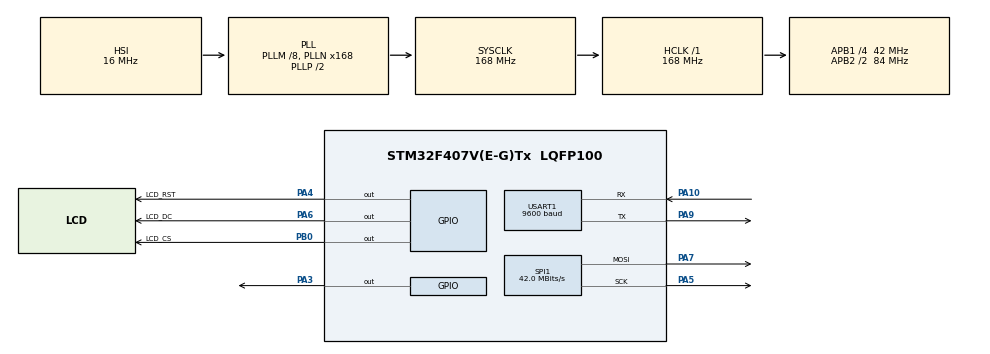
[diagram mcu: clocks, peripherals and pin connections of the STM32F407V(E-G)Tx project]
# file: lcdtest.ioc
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Dma.Request0=SPI1_TX
Dma.Request1=USART1_RX
Dma.SPI1_TX.0.Direction=DMA_MEMORY_TO_PERIPH
Dma.SPI1_TX.0.FIFOMode=DMA_FIFOMODE_DISABLE
Dma.SPI1_TX.0.Instance=DMA2_Stream3
Dma.SPI1_TX.0.MemDataAlignment=DMA_MDATAALIGN_BYTE
Dma.SPI1_TX.0.MemInc=DMA_MINC_ENABLE
Dma.SPI1_TX.0.Mode=DMA_NORMAL
Dma.SPI1_TX.0.PeriphDataAlignment=DMA_PDATAALIGN_BYTE
Dma.SPI1_TX.0.PeriphInc=DMA_PINC_DISABLE
Dma.SPI1_TX.0.Priority=DMA_PRIORITY_LOW
Dma.USART1_RX.1.Direction=DMA_PERIPH_TO_MEMORY
Dma.USART1_RX.1.FIFOMode=DMA_FIFOMODE_DISABLE
Dma.USART1_RX.1.Instance=DMA2_Stream2
Dma.USART1_RX.1.MemDataAlignment=DMA_MDATAALIGN_BYTE
Dma.USART1_RX.1.MemInc=DMA_MINC_ENABLE
Dma.USART1_RX.1.Mode=DMA_CIRCULAR
Dma.USART1_RX.1.PeriphDataAlignment=DMA_PDATAALIGN_BYTE
Dma.USART1_RX.1.PeriphInc=DMA_PINC_DISABLE
Dma.USART1_RX.1.Priority=DMA_PRIORITY_LOW
Mcu.Family=STM32F4
Mcu.Name=STM32F407V(E-G)Tx
Mcu.Package=LQFP100
NVIC.DMA2_Stream2_IRQn=true\:0\:0\:false\:false\:true\:false\:true\:true
NVIC.DMA2_Stream3_IRQn=true\:0\:0\:false\:false\:true\:false\:true\:true
NVIC.PriorityGroup=NVIC_PRIORITYGROUP_4
NVIC.SPI1_IRQn=true\:0\:0\:false\:false\:true\:true\:true\:true
NVIC.USART1_IRQn=true\:1\:0\:true\:false\:true\:true\:true\:true
PA10.Mode=Asynchronous
PA10.Signal=USART1_RX
PA13.Mode=Serial_Wire
PA13.Signal=SYS_JTMS-SWDIO
PA14.Mode=Serial_Wire
PA14.Signal=SYS_JTCK-SWCLK
PA3.PinState=GPIO_PIN_RESET
PA3.Signal=GPIO_Output
PA4.GPIO_Label=LCD_RST
PA4.GPIO_PuPd=GPIO_PULLUP
PA4.GPIO_Speed=GPIO_SPEED_FREQ_HIGH
PA4.PinState=GPIO_PIN_SET
PA4.Signal=GPIO_Output
PA5.Mode=TX_Only_Simplex_Unidirect_Master
PA5.Signal=SPI1_SCK
PA6.GPIO_Label=LCD_DC
PA6.GPIO_PuPd=GPIO_PULLUP
PA6.GPIO_Speed=GPIO_SPEED_FREQ_HIGH
PA6.PinState=GPIO_PIN_SET
PA6.Signal=GPIO_Output
PA7.Mode=TX_Only_Simplex_Unidirect_Master
PA7.Signal=SPI1_MOSI
PA9.Mode=Asynchronous
PA9.Signal=USART1_TX
PB0.GPIO_Label=LCD_CS
PB0.GPIO_PuPd=GPIO_PULLUP
PB0.GPIO_Speed=GPIO_SPEED_FREQ_HIGH
PB0.PinState=GPIO_PIN_SET
PB0.Signal=GPIO_Output
PH0-OSC_IN.Mode=HSE-External-Oscillator
PH0-OSC_IN.Signal=RCC_OSC_IN
PH1-OSC_OUT.Mode=HSE-External-Oscillator
PH1-OSC_OUT.Signal=RCC_OSC_OUT
ProjectManager.HeapSize=0x200
ProjectManager.StackSize=0x400
ProjectManager.TargetToolchain=STM32CubeIDE
RCC.48MHZClocksFreq_Value=84000000
RCC.AHBFreq_Value=168000000
RCC.APB1CLKDivider=RCC_HCLK_DIV4
RCC.APB1Freq_Value=42000000
RCC.APB1TimFreq_Value=84000000
RCC.APB2CLKDivider=RCC_HCLK_DIV2
RCC.APB2Freq_Value=84000000
RCC.APB2TimFreq_Value=168000000
RCC.CortexFreq_Value=168000000
RCC.HCLKFreq_Value=168000000
RCC.HSE_VALUE=25000000
RCC.HSI_VALUE=16000000
RCC.LSE_VALUE=32768
RCC.PLLM=8
RCC.PLLN=168
RCC.SYSCLKFreq_VALUE=168000000
RCC.SYSCLKSource=RCC_SYSCLKSOURCE_PLLCLK
RCC.VCOOutputFreq_Value=336000000
SPI1.CalculateBaudRate=42.0 MBits/s
SPI1.Direction=SPI_DIRECTION_2LINES
SPI1.Mode=SPI_MODE_MASTER
SPI1.VirtualType=VM_MASTER
TIM1.Period=0xffff-1
TIM1.Prescaler=168-1
USART1.BaudRate=9600
USART1.VirtualMode=VM_ASYNC
VP_TIM1_VS_ClockSourceINT.Mode=Internal
board=custom

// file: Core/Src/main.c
/* USER CODE BEGIN Header */
/**
  ******************************************************************************
  * @file           : main.c
  * @brief          : Main program body
  ******************************************************************************
  * @attention
  *
  * Copyright (c) 2024 STMicroelectronics.
  * All rights reserved.
  *
  * This software is licensed under terms that can be found in the LICENSE file
  * in the root directory of this software component.
  * If no LICENSE file comes with this software, it is provided AS-IS.
  *
  ******************************************************************************
  */
/* USER CODE END Header */
#include "main.h"

/* USER CODE BEGIN Includes */
#include "stdio.h"
#include "stdlib.h"
#include "ILI9341_STM32_Driver.h"
#include "ILI9341_GFX.h"
#include "string.h"
#include "image.h"
#include "stm32f4xx_hal.h"

/* USER CODE END Includes */

/* USER CODE BEGIN PD */

#define BUFFER_SIZE 470
char uart_rx_buffer[BUFFER_SIZE];
volatile uint8_t uart_rx_complete = 0;
/* USER CODE END PD */

SPI_HandleTypeDef hspi1;
DMA_HandleTypeDef hdma_spi1_tx;

TIM_HandleTypeDef htim1;

UART_HandleTypeDef huart1;
DMA_HandleTypeDef hdma_usart1_rx;

/* USER CODE BEGIN PV */

char display_buffer[100];
volatile uint16_t y_position = 10; // Vị trí bắt đầu hiển thị (dòng đầu tiên)

#define DHT11_PORT GPIOA
#define DHT11_PIN GPIO_PIN_3
//char display_buffer[100];
//volatile uint16_t y_position = 10; // Vị trí bắt đầu hiển thị (dòng đầu tiên)
/* USER CODE END PV */

void SystemClock_Config(void);
static void MX_GPIO_Init(void);
static void MX_DMA_Init(void);
static void MX_SPI1_Init(void);
static void MX_USART1_UART_Init(void);
static void MX_TIM1_Init(void);
/* USER CODE BEGIN PFP */

//void HAL_UART_RxCpltCallback(UART_HandleTypeDef *huart);

/* USER CODE END PFP */

/* USER CODE BEGIN 0 */
void Software_Reset(void) {
    NVIC_SystemReset(); // Reset hệ thống bằng NVIC
}
void Displaynenthanhpho(void) {
    // �?ặt hướng màn hình d�?c
	ILI9341_SetRotation(SCREEN_VERTICAL_1);
    // Lặp qua từng dòng và cột của ảnh
    for (uint16_t y = 0; y < 320 ; y++) {
        for (uint16_t x = 0; x < 240; x++) {
            // Lấy giá trị màu từ mảng _acSTLogo
           uint16_t color = nenthanhpho[y * 240 + x];
            // Vẽ pixel màu ra màn hình
            ILI9341_DrawPixel(x, y, color);
        }
    }
}

//DHT11

void delay (uint16_t time)
{
	/* change your code here for the delay in microseconds */
	__HAL_TIM_SET_COUNTER(&htim1, 0);
	while ((__HAL_TIM_GET_COUNTER(&htim1))<time);
}
#define DHT11_PORT GPIOA
#define DHT11_PIN GPIO_PIN_3
void Set_Pin_Output (GPIO_TypeDef *GPIOx, uint16_t GPIO_Pin)
{
	GPIO_InitTypeDef GPIO_InitStruct = {0};
	GPIO_InitStruct.Pin = GPIO_Pin;
	GPIO_InitStruct.Mode = GPIO_MODE_OUTPUT_PP;
	GPIO_InitStruct.Speed = GPIO_SPEED_FREQ_LOW;
	HAL_GPIO_Init(GPIOx, &GPIO_InitStruct);
}

void Set_Pin_Input (GPIO_TypeDef *GPIOx, uint16_t GPIO_Pin)
{
	GPIO_InitTypeDef GPIO_InitStruct = {0};
	GPIO_InitStruct.Pin = GPIO_Pin;
	GPIO_InitStruct.Mode = GPIO_MODE_INPUT;
	GPIO_InitStruct.Pull = GPIO_PULLUP;
	HAL_GPIO_Init(GPIOx, &GPIO_InitStruct);
}

void DHT11_Start (void)
{
	Set_Pin_Output (DHT11_PORT, DHT11_PIN);  // set the pin as output
	HAL_GPIO_WritePin (DHT11_PORT, DHT11_PIN, 0);   // pull the pin low
	delay (18000);   // wait for 18ms
    HAL_GPIO_WritePin (DHT11_PORT, DHT11_PIN, 1);   // pull the pin high
	delay (20);   // wait for 20us
	Set_Pin_Input(DHT11_PORT, DHT11_PIN);    // set as input
}

uint8_t DHT11_Check_Response (void)
{
	uint8_t Response = 0;
	delay (40);
	if (!(HAL_GPIO_ReadPin (DHT11_PORT, DHT11_PIN)))
	{
		delay (80);
		if ((HAL_GPIO_ReadPin (DHT11_PORT, DHT11_PIN))) Response = 1;
		else Response = -1; // 255
	}
	while ((HAL_GPIO_ReadPin (DHT11_PORT, DHT11_PIN)));   // wait for the pin to go low

	return Response;
}

uint8_t DHT11_Read (void)
{
	uint8_t i,j;
	for (j=0;j<8;j++)
	{
		while (!(HAL_GPIO_ReadPin (DHT11_PORT, DHT11_PIN)));   // wait for the pin to go high
		delay (40);   // wait for 40 us
		if (!(HAL_GPIO_ReadPin (DHT11_PORT, DHT11_PIN)))   // if the pin is low
		{
			i&= ~(1<<(7-j));   // write 0
		}
		else i|= (1<<(7-j));  // if the pin is high, write 1
		while ((HAL_GPIO_ReadPin (DHT11_PORT, DHT11_PIN)));  // wait for the pin to go low
	}
	return i;
}

uint8_t Rh_byte1, Rh_byte2, Temp_byte1, Temp_byte2;
uint16_t SUM, RH, TEMP;

float Temperature = 0;
float Humidity = 0;
uint8_t Presence = 0;

/* USER CODE END 0 */

int main(void)
{

  /* USER CODE BEGIN 1 */
	uint32_t startTime = HAL_GetTick(); // Lấy thời điểm bắt đầu
  /* USER CODE END 1 */

  /* MCU Configuration--------------------------------------------------------*/

  /* Reset of all peripherals, Initializes the Flash interface and the Systick. */
  HAL_Init();

  /* Configure the system clock */
  SystemClock_Config();

  /* Initialize all configured peripherals */
  MX_GPIO_Init();
  MX_DMA_Init();
  MX_SPI1_Init();
  MX_USART1_UART_Init();
  MX_TIM1_Init();
  /* USER CODE BEGIN 2 */

 HAL_TIM_Base_Start(&htim1);

  DHT11_Start();
 	  	   	  Presence = DHT11_Check_Response();
 	  	   	  Rh_byte1 = DHT11_Read ();
 	  	   	  Rh_byte2 = DHT11_Read ();
 	  	   	  Temp_byte1 = DHT11_Read ();
 	  	   	  Temp_byte2 = DHT11_Read ();
 	  	   	  SUM = DHT11_Read();

 	  	   	  TEMP = Temp_byte1;
 	  	   	  RH = Rh_byte1;

 	  	   	  Temperature = (float) TEMP;
 	  	   	  Humidity = (float) RH;
 	  	   	/* Chuẩn bị chuỗi để gửi qua UART
 	  	   	    char buffer[50];
 	  	   	    snprintf(buffer, sizeof(buffer), "Temp: %.1f C, Hum: %.1f %%\r\n", Temperature, Humidity);

 	  	   	     Gửi chuỗi qua UART1
 	  	   	    HAL_UART_Transmit(&huart1, (uint8_t *)buffer, strlen(buffer), HAL_MAX_DELAY); */

 	  	 	/* Chuẩn bị chuỗi hiển thị */

 	  	   ILI9341_Init();
 	  	ILI9341_SetRotation(SCREEN_VERTICAL_1);
 	  //	Displaynenthanhpho();
 	  	   	  	  	ILI9341_FillScreen(BLACK);

 	  	   	 char message[] = "thoitiet"; // Chuỗi dữ liệu cần gửi

 	  	   	 //  HAL_Delay(1000); // �?ợi 1 giây trước khi gửi tiếp
 	  	   	   HAL_UART_Receive_IT(&huart1, (uint8_t *)uart_rx_buffer, BUFFER_SIZE);

 	  	   	      HAL_Delay(1000); // �?ợi 1 giây trước khi gửi tiếp
 	  	   	      HAL_UART_Transmit(&huart1, (uint8_t *)message, sizeof(message) - 1, HAL_MAX_DELAY);

 	  	 char temp_buffer[50];
 	  	  	  	 	  	   	    snprintf(temp_buffer, sizeof(temp_buffer), "TempIn: %.1f C", Temperature);

 	  	  	  	 	  	   	    char hum_buffer[50];
 	  	  	  	 	  	   	    snprintf(hum_buffer, sizeof(hum_buffer), "HumIn: %.1f %%", Humidity);

 	  	  	  	 	  	   	    /* Xóa màn hình và hiển thị thông tin mới */
 	  	  	  	 	  	   	  //  ILI9341_FillRect(0, y_position, 240, 40, BLACK); // Xóa vùng hiển thị cũ
 	  	  	  	 	  	   	    ILI9341_DrawText(temp_buffer, FONT2, 25, 295, BLUE, BLACK); // Hiển thị nhiệt độ
 	  	  	  	 	  	   	    ILI9341_DrawText(hum_buffer, FONT2, 125, 295, BLUE, BLACK); // Hiển thị độ ẩm
 	  	//   	  HAL_Delay(10000);

  /* USER CODE END 2 */

  /* Infinite loop */
  while (1)
  {

    /* USER CODE BEGIN 3 */
	  if (uart_rx_complete) {
	  	              uart_rx_complete = 0; // Xóa c�? nhận dữ liệu

	  	              // Phân tích chuỗi nhận được
	  	              char *line = strtok(uart_rx_buffer, "\n"); // Tách chuỗi theo dòng
	  	              while (line != NULL) {
	  	                  // Hiển thị từng dòng lên LCD
	  	                  ILI9341_DrawText(line, FONT1, 10, y_position,GREEN, BLACK);
	  	                  y_position += 20; // Xuống dòng

	  	                  // Kiểm tra nếu vượt quá chi�?u cao màn hình
	  	              //    if (y_position > 320) {
	  	                 //     y_position = 10; // Quay lại dòng đầu tiên
	  	                   //   ILI9341_FillScreen(BLACK); // Xóa màn hình
	  	                //  }

	  	                  // Gửi phản hồi lại qua UART
	  	                  HAL_UART_Transmit(&huart1, (uint8_t *)line, strlen(line), HAL_MAX_DELAY);

	  	                  // Tách dòng tiếp theo
	  	                  line = strtok(NULL, "\n");
	  	              }

	  	              // Xóa buffer sau khi xử lý
	  	              memset(uart_rx_buffer, 0, BUFFER_SIZE);
	  	          }
	  if ((HAL_GetTick() - startTime) >60000) { // Nếu vượt quá 10 giây
	          Software_Reset(); // Gọi reset
	          }

  }

  /* USER CODE END 3 */

}

void SystemClock_Config(void)
{
  RCC_OscInitTypeDef RCC_OscInitStruct = {0};
  RCC_ClkInitTypeDef RCC_ClkInitStruct = {0};

  /** Configure the main internal regulator output voltage
  */
  __HAL_RCC_PWR_CLK_ENABLE();
  __HAL_PWR_VOLTAGESCALING_CONFIG(PWR_REGULATOR_VOLTAGE_SCALE1);

  /** Initializes the RCC Oscillators according to the specified parameters
  * in the RCC_OscInitTypeDef structure.
  */
  RCC_OscInitStruct.OscillatorType = RCC_OSCILLATORTYPE_HSI;
  RCC_OscInitStruct.HSIState = RCC_HSI_ON;
  RCC_OscInitStruct.HSICalibrationValue = RCC_HSICALIBRATION_DEFAULT;
  RCC_OscInitStruct.PLL.PLLState = RCC_PLL_ON;
  RCC_OscInitStruct.PLL.PLLSource = RCC_PLLSOURCE_HSI;
  RCC_OscInitStruct.PLL.PLLM = 8;
  RCC_OscInitStruct.PLL.PLLN = 168;
  RCC_OscInitStruct.PLL.PLLP = RCC_PLLP_DIV2;
  RCC_OscInitStruct.PLL.PLLQ = 4;
  if (HAL_RCC_OscConfig(&RCC_OscInitStruct) != HAL_OK)
  {
    Error_Handler();
  }

  /** Initializes the CPU, AHB and APB buses clocks
  */
  RCC_ClkInitStruct.ClockType = RCC_CLOCKTYPE_HCLK|RCC_CLOCKTYPE_SYSCLK
                              |RCC_CLOCKTYPE_PCLK1|RCC_CLOCKTYPE_PCLK2;
  RCC_ClkInitStruct.SYSCLKSource = RCC_SYSCLKSOURCE_PLLCLK;
  RCC_ClkInitStruct.AHBCLKDivider = RCC_SYSCLK_DIV1;
  RCC_ClkInitStruct.APB1CLKDivider = RCC_HCLK_DIV4;
  RCC_ClkInitStruct.APB2CLKDivider = RCC_HCLK_DIV2;

  if (HAL_RCC_ClockConfig(&RCC_ClkInitStruct, FLASH_LATENCY_5) != HAL_OK)
  {
    Error_Handler();
  }
}

static void MX_SPI1_Init(void)
{

  /* SPI1 parameter configuration*/
  hspi1.Instance = SPI1;
  hspi1.Init.Mode = SPI_MODE_MASTER;
  hspi1.Init.Direction = SPI_DIRECTION_2LINES;
  hspi1.Init.DataSize = SPI_DATASIZE_8BIT;
  hspi1.Init.CLKPolarity = SPI_POLARITY_LOW;
  hspi1.Init.CLKPhase = SPI_PHASE_1EDGE;
  hspi1.Init.NSS = SPI_NSS_SOFT;
  hspi1.Init.BaudRatePrescaler = SPI_BAUDRATEPRESCALER_2;
  hspi1.Init.FirstBit = SPI_FIRSTBIT_MSB;
  hspi1.Init.TIMode = SPI_TIMODE_DISABLE;
  hspi1.Init.CRCCalculation = SPI_CRCCALCULATION_DISABLE;
  hspi1.Init.CRCPolynomial = 10;
  if (HAL_SPI_Init(&hspi1) != HAL_OK)
  {
    Error_Handler();
  }

}

static void MX_TIM1_Init(void)
{

  TIM_ClockConfigTypeDef sClockSourceConfig = {0};
  TIM_MasterConfigTypeDef sMasterConfig = {0};

  htim1.Instance = TIM1;
  htim1.Init.Prescaler = 168-1;
  htim1.Init.CounterMode = TIM_COUNTERMODE_UP;
  htim1.Init.Period = 0xffff-1;
  htim1.Init.ClockDivision = TIM_CLOCKDIVISION_DIV1;
  htim1.Init.RepetitionCounter = 0;
  htim1.Init.AutoReloadPreload = TIM_AUTORELOAD_PRELOAD_DISABLE;
  if (HAL_TIM_Base_Init(&htim1) != HAL_OK)
  {
    Error_Handler();
  }
  sClockSourceConfig.ClockSource = TIM_CLOCKSOURCE_INTERNAL;
  if (HAL_TIM_ConfigClockSource(&htim1, &sClockSourceConfig) != HAL_OK)
  {
    Error_Handler();
  }
  sMasterConfig.MasterOutputTrigger = TIM_TRGO_RESET;
  sMasterConfig.MasterSlaveMode = TIM_MASTERSLAVEMODE_DISABLE;
  if (HAL_TIMEx_MasterConfigSynchronization(&htim1, &sMasterConfig) != HAL_OK)
  {
    Error_Handler();
  }

}

static void MX_USART1_UART_Init(void)
{

  huart1.Instance = USART1;
  huart1.Init.BaudRate = 9600;
  huart1.Init.WordLength = UART_WORDLENGTH_8B;
  huart1.Init.StopBits = UART_STOPBITS_1;
  huart1.Init.Parity = UART_PARITY_NONE;
  huart1.Init.Mode = UART_MODE_TX_RX;
  huart1.Init.HwFlowCtl = UART_HWCONTROL_NONE;
  huart1.Init.OverSampling = UART_OVERSAMPLING_16;
  if (HAL_UART_Init(&huart1) != HAL_OK)
  {
    Error_Handler();
  }

}

static void MX_DMA_Init(void)
{

  /* DMA controller clock enable */
  __HAL_RCC_DMA2_CLK_ENABLE();

  /* DMA interrupt init */
  /* DMA2_Stream2_IRQn interrupt configuration */
  HAL_NVIC_SetPriority(DMA2_Stream2_IRQn, 0, 0);
  HAL_NVIC_EnableIRQ(DMA2_Stream2_IRQn);
  /* DMA2_Stream3_IRQn interrupt configuration */
  HAL_NVIC_SetPriority(DMA2_Stream3_IRQn, 0, 0);
  HAL_NVIC_EnableIRQ(DMA2_Stream3_IRQn);

}

static void MX_GPIO_Init(void)
{
  GPIO_InitTypeDef GPIO_InitStruct = {0};

  /* GPIO Ports Clock Enable */
  __HAL_RCC_GPIOH_CLK_ENABLE();
  __HAL_RCC_GPIOA_CLK_ENABLE();
  __HAL_RCC_GPIOB_CLK_ENABLE();

  /*Configure GPIO pin Output Level */
  HAL_GPIO_WritePin(GPIOA, GPIO_PIN_3, GPIO_PIN_RESET);

  /*Configure GPIO pin Output Level */
  HAL_GPIO_WritePin(GPIOA, LCD_RST_Pin|LCD_DC_Pin, GPIO_PIN_SET);

  /*Configure GPIO pin Output Level */
  HAL_GPIO_WritePin(LCD_CS_GPIO_Port, LCD_CS_Pin, GPIO_PIN_SET);

  /*Configure GPIO pin : PA3 */
  GPIO_InitStruct.Pin = GPIO_PIN_3;
  GPIO_InitStruct.Mode = GPIO_MODE_OUTPUT_PP;
  GPIO_InitStruct.Pull = GPIO_NOPULL;
  GPIO_InitStruct.Speed = GPIO_SPEED_FREQ_LOW;
  HAL_GPIO_Init(GPIOA, &GPIO_InitStruct);

  /*Configure GPIO pins : LCD_RST_Pin LCD_DC_Pin */
  GPIO_InitStruct.Pin = LCD_RST_Pin|LCD_DC_Pin;
  GPIO_InitStruct.Mode = GPIO_MODE_OUTPUT_PP;
  GPIO_InitStruct.Pull = GPIO_PULLUP;
  GPIO_InitStruct.Speed = GPIO_SPEED_FREQ_HIGH;
  HAL_GPIO_Init(GPIOA, &GPIO_InitStruct);

  /*Configure GPIO pin : LCD_CS_Pin */
  GPIO_InitStruct.Pin = LCD_CS_Pin;
  GPIO_InitStruct.Mode = GPIO_MODE_OUTPUT_PP;
  GPIO_InitStruct.Pull = GPIO_PULLUP;
  GPIO_InitStruct.Speed = GPIO_SPEED_FREQ_HIGH;
  HAL_GPIO_Init(LCD_CS_GPIO_Port, &GPIO_InitStruct);

}

/* USER CODE BEGIN 4 */

void HAL_UART_RxCpltCallback(UART_HandleTypeDef *huart) {
    if (huart->Instance == USART1) {
        uart_rx_complete = 1; // �?ặt c�? nhận dữ liệu hoàn tất
        HAL_UART_Receive_IT(&huart1, (uint8_t *)uart_rx_buffer, BUFFER_SIZE); // Chuẩn bị nhận tiếp
    }
}

/* USER CODE END 4 */

void Error_Handler(void)
{
  __disable_irq();
  while (1)
  {
  }
}
